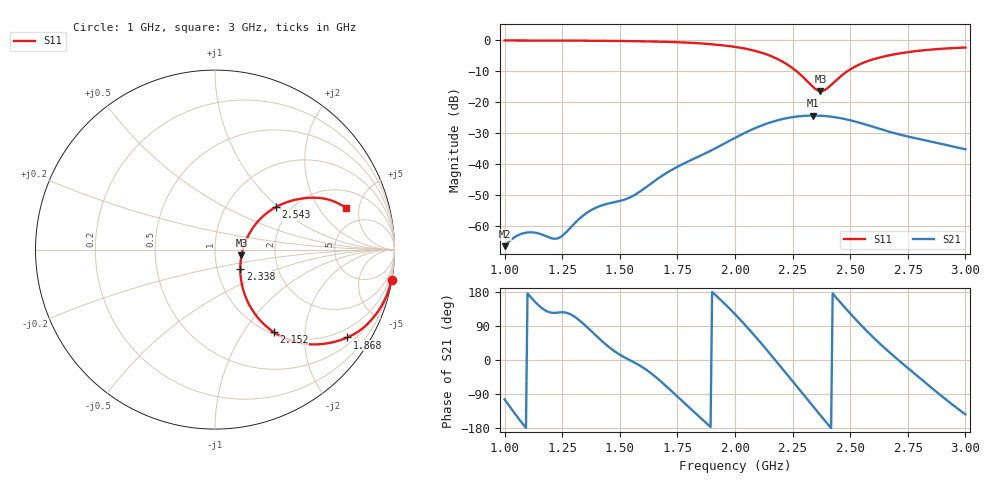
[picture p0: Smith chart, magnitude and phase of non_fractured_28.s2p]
! TOUCHSTONE file generated by CST MICROWAVE STUDIO
! Date and time: Sat Mar  8 13:54:06 2025
! Project name: non_fractured.cst
! Parameters = {B=2.5; D=160; F=10; Feed=2.85625; L=100; M=5; R=0.384908; S=2; Theta=270; length=57.125; wave=114.25}
! Header version: 2024
! Port assignment regex: !\s*Touchstone port\s*([0-9]+)\s*=\s*(CST MWS port|CST DES external port|CST DES block port)\s*(.+)\s* \(\"(.*)\"\)(\s*mode\s*([0-9]+))?.*
! Touchstone port assignment:
! Touchstone port 1 = CST MWS port 1 ("")
! Touchstone port 2 = CST MWS port 2 ("")
# GHz S DB R 50
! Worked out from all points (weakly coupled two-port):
!   303 points, 1 GHz to 3 GHz, reference 50 ohm
!   highest |S21| = -24.35 dB at 2.338 GHz (marker M1); lowest = -66.7 dB at 1 GHz (marker M2)
!   lowest |S11| = -16.4 dB at 2.371 GHz (marker M3), VSWR 1.36, Z = 67.1 - j4.47 ohm
!   |S11| at or under -10 dB: 2.267 GHz to 2.488 GHz (220.4 MHz wide, 9.27 % of centre)
!   S12 and S22 are empty: the file has one direction only
!   S11 on the Smith chart (normalised r, x): 1 GHz: 0, -12; 1.868 GHz: 0.70, -3.17; 2.152 GHz: 1.03, -1.38; 2.338 GHz: 1.29, -0.29; 2.543 GHz: 1.68, +0.96; 3 GHz: 3.27, +3.69
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1  -0.02 -9.8  -66.67 -104.0  -200.00 0.0  -200.00 0.0
1.04636  -0.02 -10.4  -63.61 -142.9  -200.00 0.0  -200.00 0.0
1.09272  -0.03 -11.0  -62.30 -179.3  -200.00 0.0  -200.00 0.0
1.13245  -0.04 -11.6  -62.30 153.2  -200.00 0.0  -200.00 0.0
1.2053  -0.05 -12.8  -64.13 124.7  -200.00 0.0  -200.00 0.0
1.23179  -0.05 -13.2  -64.09 125.1  -200.00 0.0  -200.00 0.0
1.33775  -0.09 -15.3  -56.94 97.9  -200.00 0.0  -200.00 0.0
1.4106  -0.12 -16.8  -53.76 56.6  -200.00 0.0  -200.00 0.0
1.54967  -0.24 -20.4  -50.67 -2.4  -200.00 0.0  -200.00 0.0
1.66887  -0.40 -24.3  -44.60 -51.5  -200.00 0.0  -200.00 0.0
1.86755  -1.06 -33.6  -36.73 -162.1  -200.00 0.0  -200.00 0.0
2  -2.10 -42.2  -31.58 121.0  -200.00 0.0  -200.00 0.0
2.15232  -4.97 -54.6  -26.60 16.2  -200.00 0.0  -200.00 0.0
2.24503  -8.72 -58.2  -24.91 -52.4  -200.00 0.0  -200.00 0.0
2.33775  -15.04 -37.4  -24.35 -121.6  -200.00 0.0  -200.00 0.0
2.37086  -16.41 -12.4  -24.41 -146.0  -200.00 0.0  -200.00 0.0
2.39735  -15.69 8.6  -24.56 -165.4  -200.00 0.0  -200.00 0.0
2.45695  -11.74 31.4  -25.19 152.2  -200.00 0.0  -200.00 0.0
2.54305  -7.70 35.0  -26.73 94.6  -200.00 0.0  -200.00 0.0
2.66887  -4.85 30.0  -29.57 21.1  -200.00 0.0  -200.00 0.0
2.83444  -3.08 23.0  -32.51 -64.0  -200.00 0.0  -200.00 0.0
3  -2.30 17.6  -35.27 -143.6  -200.00 0.0  -200.00 0.0
